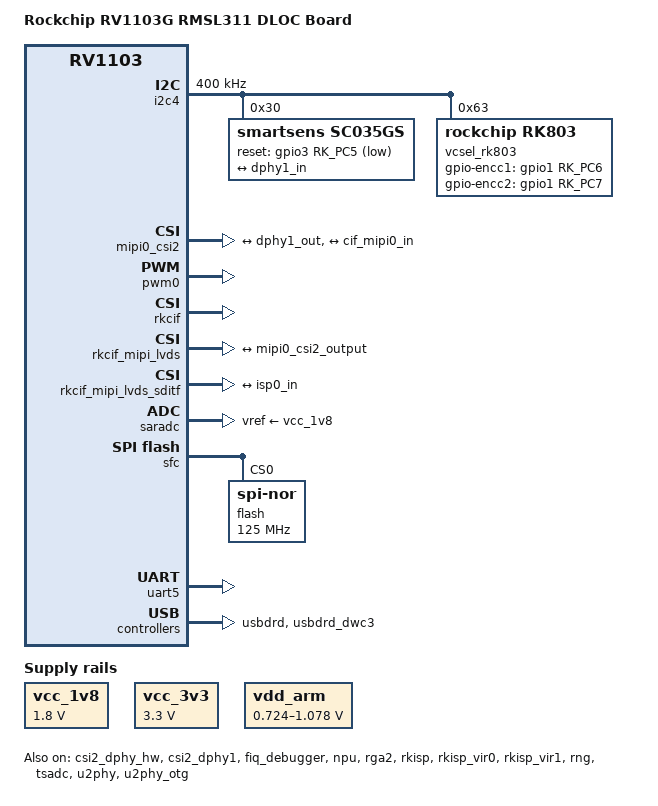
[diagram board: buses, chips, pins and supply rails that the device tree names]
// SPDX-License-Identifier: (GPL-2.0+ OR MIT)
/*
 * Copyright (c) 2022 Rockchip Electronics Co., Ltd.
 */

/dts-v1/;

#include "rv1103.dtsi"
#include "rv1106-thunder-boot-spi-nor.dtsi"

/ {
	model = "Rockchip RV1103G RMSL311 DLOC Board";
	compatible = "rockchip,rv1103g-rmsl311-dloc-v10", "rockchip,rv1103";

	chosen {
		bootargs = "loglevel=0 rootfstype=erofs rootflags=dax console=ttyFIQ0 root=/dev/rd0 snd_soc_core.prealloc_buffer_size_kbytes=16 coherent_pool=0 driver_async_probe=dwmmc_rockchip";
	};

	vcc_1v8: vcc-1v8 {
		compatible = "regulator-fixed";
		regulator-name = "vcc_1v8";
		regulator-always-on;
		regulator-boot-on;
		regulator-min-microvolt = <1800000>;
		regulator-max-microvolt = <1800000>;
	};

	vcc_3v3: vcc-3v3 {
		compatible = "regulator-fixed";
		regulator-name = "vcc_3v3";
		regulator-always-on;
		regulator-boot-on;
		regulator-min-microvolt = <3300000>;
		regulator-max-microvolt = <3300000>;
	};

	vdd_arm: vdd-arm {
		compatible = "pwm-regulator";
		pwms = <&pwm0 0 5000 1>;
		regulator-name = "vdd_arm";
		regulator-min-microvolt = <724000>;
		regulator-max-microvolt = <1078000>;
		regulator-init-microvolt = <950000>;
		regulator-always-on;
		regulator-boot-on;
		regulator-settling-time-up-us = <250>;
	};
};

&csi2_dphy_hw {
	status = "okay";
};

&csi2_dphy1 {
	status = "okay";
	ports {
		#address-cells = <1>;
		#size-cells = <0>;

		port@0 {
			reg = <0>;
			#address-cells = <1>;
			#size-cells = <0>;

			dphy1_in: endpoint@1 {
				reg = <1>;
				remote-endpoint = <&sc035gs_out>;
				data-lanes = <1 2>;
			};
		};

		port@1 {
			reg = <1>;
			#address-cells = <1>;
			#size-cells = <0>;
			dphy1_out: endpoint@1 {
				reg = <1>;
				remote-endpoint = <&mipi0_csi2_input>;
			};
		};
	};
};

&fiq_debugger {
	rockchip,irq-mode-enable = <1>;
	status = "okay";
	rockchip,baudrate = <1500000>;
	pinctrl-names = "default";
	pinctrl-0 = <&uart2m1_xfer>;
};

&i2c4 {
	status = "okay";
	clock-frequency = <400000>;
	pinctrl-names = "default";
	pinctrl-0 = <&i2c4m2_xfer>;

	sc035gs: sc035gs@30 {
		compatible = "smartsens,sc035gs";
		status = "okay";
		reg = <0x30>;
		clocks = <&cru MCLK_REF_MIPI0>;
		clock-names = "xvclk";
		reset-gpios = <&gpio3 RK_PC5 GPIO_ACTIVE_LOW>;
		pinctrl-names = "default";
		pinctrl-0 = <&mipi_refclk_out0>;

		rockchip,camera-module-index = <0>;
		rockchip,camera-module-facing = "back";
		rockchip,camera-module-name = "default";
		rockchip,camera-module-lens-name = "default";

		port {
			sc035gs_out: endpoint {
				remote-endpoint = <&dphy1_in>;
				data-lanes = <1 2>;
			};
		};
	};

	vcsel_rk803: vcsel_rk803@63 {
		compatible = "rockchip,rk803";
		status = "okay";
		reg = <0x63>;

		gpio-encc1-gpios = <&gpio1 RK_PC6 GPIO_ACTIVE_HIGH>; //Flood
		gpio-encc2-gpios = <&gpio1 RK_PC7 GPIO_ACTIVE_HIGH>; //PRO
	};
};

&memory {
	reg = <0x00000000 0x04000000>;
};

&mipi0_csi2 {
	status = "okay";

	ports {
		#address-cells = <1>;
		#size-cells = <0>;

		port@0 {
			reg = <0>;
			#address-cells = <1>;
			#size-cells = <0>;

			mipi0_csi2_input: endpoint@1 {
				reg = <1>;
				remote-endpoint = <&dphy1_out>;
				data-lanes = <1 2>;
			};
		};

		port@1 {
			reg = <1>;
			#address-cells = <1>;
			#size-cells = <0>;

			mipi0_csi2_output: endpoint@0 {
				reg = <0>;
				remote-endpoint = <&cif_mipi0_in>;
				data-lanes = <1 2>;
			};
		};
	};
};

&npu {
	status = "okay";
};

&pwm0 {
	status = "okay";
};

&rga2 {
	status = "okay";
};

&rkcif {
	status = "okay";
};

&rkcif_mipi_lvds {
	status = "okay";

	port {
		/* MIPI CSI-2 endpoint */
		cif_mipi0_in: endpoint {
			remote-endpoint = <&mipi0_csi2_output>;
			data-lanes = <1 2>;
		};
	};
};

&rkcif_mipi_lvds_sditf {
	status = "okay";

	port {
		/* MIPI CSI-2 endpoint */
		mipi_lvds0_sditf: endpoint {
			remote-endpoint = <&isp0_in>;
			data-lanes = <1 2>;
		};
	};
};

&rkisp {
	status = "okay";

	pinctrl-names = "default";
	pinctrl-0 = <&mipi_pins>;

	max-input = <640 480 30>;
};

&rkisp_vir0 {
	status = "okay";

	ports {
		port@0 {
			isp0_in: endpoint {
				remote-endpoint = <&mipi_lvds0_sditf>;
			};
		};
	};
};

&rkisp_vir1 {
	status = "okay";
};

&rng {
	status = "okay";
};

&saradc {
	status = "okay";
	vref-supply = <&vcc_1v8>;
};

&sfc {
	assigned-clocks = <&cru SCLK_SFC>;
	assigned-clock-rates = <125000000>;
	status = "okay";

	flash@0 {
		compatible = "jedec,spi-nor";
		reg = <0>;
		spi-max-frequency = <125000000>;
		spi-rx-bus-width = <4>;
		spi-tx-bus-width = <1>;
	};
};

&tsadc {
	status = "okay";
};

&u2phy {
	status = "okay";
};

&u2phy_otg {
	status = "okay";
};

&uart5 {
	status = "okay";
};

&usbdrd {
	status = "okay";
};

&usbdrd_dwc3 {
	extcon = <&u2phy>;
	status = "okay";
};
